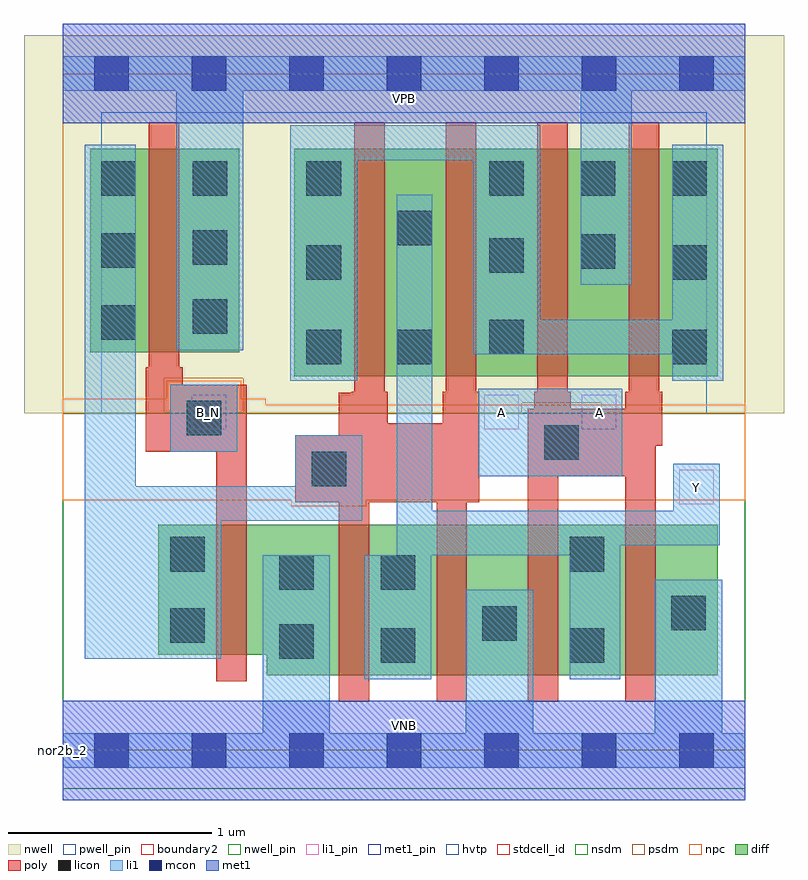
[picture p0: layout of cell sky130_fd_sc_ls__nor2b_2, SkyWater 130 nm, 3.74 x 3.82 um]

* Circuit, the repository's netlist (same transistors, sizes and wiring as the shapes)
* Copyright 2020 The SkyWater PDK Authors
*
* Licensed under the Apache License, Version 2.0 (the "License");
* you may not use this file except in compliance with the License.
* You may obtain a copy of the License at
*
*     https://www.apache.org/licenses/LICENSE-2.0
*
* Unless required by applicable law or agreed to in writing, software
* distributed under the License is distributed on an "AS IS" BASIS,
* WITHOUT WARRANTIES OR CONDITIONS OF ANY KIND, either express or implied.
* See the License for the specific language governing permissions and
* limitations under the License.
*
* SPDX-License-Identifier: Apache-2.0

.SUBCKT sky130_fd_sc_ls__nor2b_2 A B_N VGND VNB VPB VPWR Y
*.PININFO A:I B_N:I VGND:I VNB:I VPB:I VPWR:I Y:O
MMP0 VPWR A sndPA VPB sky130_fd_pr__pfet_01v8_hvt m=2 w=1.12U l=0.15U mult=1 sa=0.265
+ sb=0.265 sd=0.28 area=0.063 perim=1.14
MMP1 sndPA B Y VPB sky130_fd_pr__pfet_01v8_hvt m=2 w=1.12U l=0.15U mult=1 sa=0.265
+ sb=0.265 sd=0.28 area=0.063 perim=1.14
MMIP1 B B_N VPWR VPB sky130_fd_pr__pfet_01v8_hvt m=1 w=1.0U l=0.15U mult=1 sa=0.265
+ sb=0.265 sd=0.28 area=0.063 perim=1.14
MMN0 Y A VGND VNB sky130_fd_pr__nfet_01v8 m=2 w=0.74U l=0.15U mult=1 sa=0.265 sb=0.265
+ sd=0.28 area=0.063 perim=1.14
MMN1 Y B VGND VNB sky130_fd_pr__nfet_01v8 m=2 w=0.74U l=0.15U mult=1 sa=0.265 sb=0.265
+ sd=0.28 area=0.063 perim=1.14
MMIN1 B B_N VGND VNB sky130_fd_pr__nfet_01v8 m=1 w=0.64U l=0.15U mult=1 sa=0.265
+ sb=0.265 sd=0.28 area=0.063 perim=1.14
.ENDS sky130_fd_sc_ls__nor2b_2

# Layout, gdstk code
import gdstk
lib = gdstk.Library(unit=1e-6, precision=1e-09)
def R(c, l, rs):  # rectangles x0, y0, x1, y1
    for r in rs: c.add(gdstk.rectangle(r[:2], r[2:], *l))
def A(c, l, x, y, w, h, nx, ny, dx, dy):  # array of equal rectangles
    R(c, l, [(x+i*dx, y+j*dy, x+i*dx+w, y+j*dy+h) for i in range(nx) for j in range(ny)])
def P(c, l, *ps):  # polygons
    for p in ps: c.add(gdstk.Polygon(p, *l))
nwell_pin = (64, 16)
nwell = (64, 20)
diff = (65, 20)
poly = (66, 20)
licon = (66, 44)
li1_pin = (67, 16)
li1 = (67, 20)
mcon = (67, 44)
met1_pin = (68, 16)
met1 = (68, 20)
hvtp = (78, 44)
stdcell_id = (81, 4)
nsdm = (93, 44)
psdm = (94, 20)
npc = (95, 20)
pwell_pin = (122, 16)
boundary2 = (236, 0)

sky130_fd_sc_ls__nor2b_2 = lib.new_cell('sky130_fd_sc_ls__nor2b_2')
R(sky130_fd_sc_ls__nor2b_2, nwell_pin, [(0,3.085,3.36,3.33)])
R(sky130_fd_sc_ls__nor2b_2, nwell, [(-0.19,1.66,3.55,3.52)])
R(sky130_fd_sc_ls__nor2b_2, diff, [(1.14,1.84,3.225,2.96), (0.135,1.96,0.87,2.96)])
P(sky130_fd_sc_ls__nor2b_2, diff, [(3.225,1.11),(0.47,1.11),(0.47,0.47),(1.005,0.47),(1.005,0.37),(3.225,0.37)])
P(sky130_fd_sc_ls__nor2b_2, poly, [(2.95,1.765),(2.935,1.765),(2.935,3.09),(2.785,3.09),(2.785,1.765),(2.77,1.765),(2.77,1.68),(2.5,1.68),(2.5,1.765),(2.485,1.765),(2.485,3.09),(2.335,3.09),(2.335,1.765),(2.32,1.765),(2.32,1.68),(2.29,1.68),(2.29,0.24),(2.44,0.24),(2.44,1.35),(2.77,1.35),(2.77,0.24),(2.92,0.24),(2.92,1.5),(2.95,1.5)],
  [(2.05,1.765),(2.035,1.765),(2.035,3.09),(1.885,3.09),(1.885,1.765),(1.87,1.765),(1.87,1.61),(1.6,1.61),(1.6,1.765),(1.585,1.765),(1.585,3.09),(1.435,3.09),(1.435,1.765),(1.42,1.765),(1.42,1.76),(1.36,1.76),(1.36,1.55),(1.145,1.55),(1.145,1.22),(1.36,1.22),(1.36,0.24),(1.51,0.24),(1.51,1.22),(1.84,1.22),(1.84,0.24),(1.99,0.24),(1.99,1.22),(2.05,1.22)],
  [(0.905,1.8),(0.59,1.8),(0.59,1.885),(0.575,1.885),(0.575,3.09),(0.425,3.09),(0.425,1.885),(0.41,1.885),(0.41,1.47),(0.755,1.47),(0.755,0.34),(0.905,0.34)])
A(sky130_fd_sc_ls__nor2b_2, licon, 1.2, 1.9, 0.17, 0.17, 1, 3, 0, 0.415)
A(sky130_fd_sc_ls__nor2b_2, licon, 0.19, 2.02, 0.17, 0.17, 1, 3, 0, 0.355)
A(sky130_fd_sc_ls__nor2b_2, licon, 0.64, 2.05, 0.17, 0.17, 1, 3, 0, 0.34)
A(sky130_fd_sc_ls__nor2b_2, licon, 2.1, 2.73, 0.17, 0.17, 3, 1, 0.45, 0)
R(sky130_fd_sc_ls__nor2b_2, licon, [(1.565,0.43,1.735,0.6), (2.495,0.43,2.665,0.6), (1.065,0.45,1.235,0.62), (0.53,0.53,0.7,0.7), (2.065,0.54,2.235,0.71), (2.995,0.59,3.165,0.76), (1.065,0.79,1.235,0.96), (1.565,0.79,1.735,0.96), (0.53,0.88,0.7,1.05), (2.495,0.88,2.665,1.05), (1.225,1.3,1.395,1.47), (2.37,1.43,2.54,1.6), (0.61,1.55,0.78,1.72), (1.65,1.9,1.82,2.07), (3,1.9,3.17,2.07), (2.1,1.95,2.27,2.12), (3,2.315,3.17,2.485), (2.1,2.35,2.27,2.52), (2.55,2.37,2.72,2.54), (1.65,2.485,1.82,2.655)])
R(sky130_fd_sc_ls__nor2b_2, li1_pin, [(3.035,1.21,3.205,1.38), (0.635,1.58,0.805,1.75), (2.075,1.58,2.245,1.75), (2.555,1.58,2.725,1.75)])
R(sky130_fd_sc_ls__nor2b_2, li1, [(2.045,1.35,2.755,1.78), (0.53,1.47,0.86,1.8)])
P(sky130_fd_sc_ls__nor2b_2, li1, [(0,-0.085),(0,0.085),(0.985,0.085),(0.985,0.96),(1.315,0.96),(1.315,0.085),(1.985,0.085),(1.985,0.79),(2.315,0.79),(2.315,0.085),(2.915,0.085),(2.915,0.84),(3.245,0.84),(3.245,0.085),(3.36,0.085),(3.36,-0.085)],
  [(0,3.245),(0,3.415),(3.36,3.415),(3.36,3.245),(2.8,3.245),(2.8,2.29),(2.55,2.29),(2.55,3.245),(0.89,3.245),(0.89,1.97),(0.56,1.97),(0.56,3.245)],
  [(2.745,1.01),(2.745,0.35),(2.495,0.35),(2.495,0.96),(1.815,0.96),(1.815,0.35),(1.485,0.35),(1.485,0.96),(1.645,0.96),(1.645,2.735),(1.82,2.735),(1.82,1.18),(3.005,1.18),(3.005,1.41),(3.235,1.41),(3.235,1.01)],
  [(0.36,1.3),(1.145,1.3),(1.145,1.55),(1.475,1.55),(1.475,1.13),(0.78,1.13),(0.78,0.45),(0.11,0.45),(0.11,2.98),(0.36,2.98)],
  [(2.35,2.12),(3,2.12),(3,2.98),(3.25,2.98),(3.25,1.82),(3,1.82),(3,1.95),(2.02,1.95),(2.02,2.905),(1.45,2.905),(1.45,1.82),(1.12,1.82),(1.12,3.075),(2.35,3.075)])
A(sky130_fd_sc_ls__nor2b_2, mcon, 0.155, -0.085, 0.17, 0.17, 7, 2, 0.48, 3.33)
R(sky130_fd_sc_ls__nor2b_2, met1_pin, [(0,0,3.36,0.245), (0,3.085,3.36,3.33)])
R(sky130_fd_sc_ls__nor2b_2, met1, [(0,-0.245,3.36,0.245), (0,3.085,3.36,3.575)])
R(sky130_fd_sc_ls__nor2b_2, hvtp, [(0.19,1.66,3.17,3.14)])
R(sky130_fd_sc_ls__nor2b_2, stdcell_id, [(0,0,3.36,3.33)])
R(sky130_fd_sc_ls__nor2b_2, nsdm, [(0,-0.19,3.36,1.66)])
P(sky130_fd_sc_ls__nor2b_2, psdm, [(3.36,3.52),(0,3.52),(0,1.66),(0.5,1.66),(0.5,1.83),(0.89,1.83),(0.89,1.66),(2.26,1.66),(2.26,1.71),(2.65,1.71),(2.65,1.66),(3.36,1.66)])
P(sky130_fd_sc_ls__nor2b_2, npc, [(3.36,1.7),(1,1.7),(1,1.73),(0.88,1.73),(0.88,1.82),(0.51,1.82),(0.51,1.73),(0,1.73),(0,1.23),(1.125,1.23),(1.125,1.2),(1.495,1.2),(1.495,1.23),(3.36,1.23)])
R(sky130_fd_sc_ls__nor2b_2, pwell_pin, [(0,0,3.36,0.245)])
R(sky130_fd_sc_ls__nor2b_2, boundary2, [(0,0,3.36,3.33)])
sky130_fd_sc_ls__nor2b_2.add(gdstk.Label('nor2b_2', (0,0), layer=83, texttype=44))
sky130_fd_sc_ls__nor2b_2.add(gdstk.Label('VNB', (1.68,0.123), layer=64, texttype=59))
sky130_fd_sc_ls__nor2b_2.add(gdstk.Label('VPB', (1.68,3.208), layer=64, texttype=5))
sky130_fd_sc_ls__nor2b_2.add(gdstk.Label('VPWR', (1.68,3.208), layer=68, texttype=5))
sky130_fd_sc_ls__nor2b_2.add(gdstk.Label('VGND', (1.68,0.123), layer=68, texttype=5))
sky130_fd_sc_ls__nor2b_2.add(gdstk.Label('A', (2.16,1.665), layer=67, texttype=5))
sky130_fd_sc_ls__nor2b_2.add(gdstk.Label('A', (2.64,1.665), layer=67, texttype=5))
sky130_fd_sc_ls__nor2b_2.add(gdstk.Label('B_N', (0.72,1.665), layer=67, texttype=5))
sky130_fd_sc_ls__nor2b_2.add(gdstk.Label('Y', (3.12,1.295), layer=67, texttype=5))

lib.write_gds('sky130_fd_sc_ls__nor2b_2.gds')
